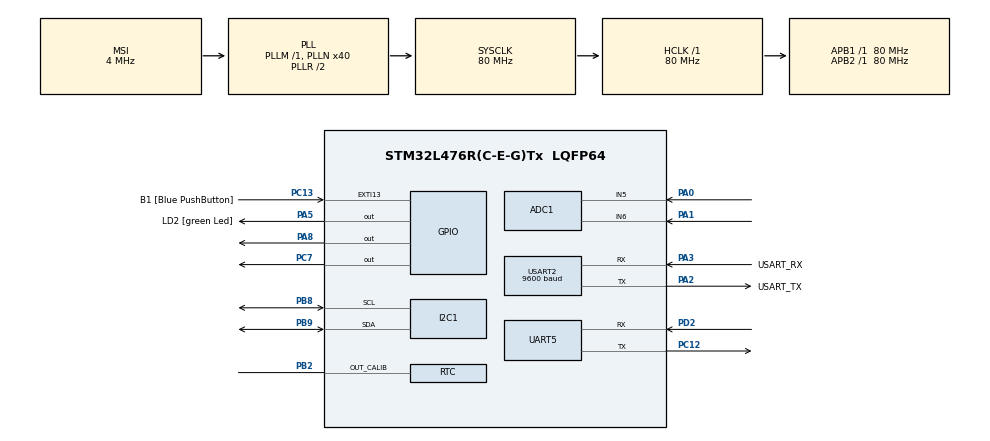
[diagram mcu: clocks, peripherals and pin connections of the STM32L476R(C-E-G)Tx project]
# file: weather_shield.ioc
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ADC1.Channel-1\#ChannelRegularConversion=ADC_CHANNEL_5
ADC1.Channel-2\#ChannelRegularConversion=ADC_CHANNEL_6
ADC1.NbrOfConversion=2
ADC1.NbrOfConversionFlag=1
ADC1.OffsetNumber-1\#ChannelRegularConversion=ADC_OFFSET_NONE
ADC1.OffsetNumber-2\#ChannelRegularConversion=ADC_OFFSET_NONE
ADC1.Rank-1\#ChannelRegularConversion=1
ADC1.Rank-2\#ChannelRegularConversion=2
ADC1.SamplingTime-1\#ChannelRegularConversion=ADC_SAMPLETIME_2CYCLES_5
ADC1.SamplingTime-2\#ChannelRegularConversion=ADC_SAMPLETIME_2CYCLES_5
ADC1.master=1
I2C1.Timing=0x10909CEC
Mcu.Family=STM32L4
Mcu.Name=STM32L476R(C-E-G)Tx
Mcu.Package=LQFP64
NVIC.PriorityGroup=NVIC_PRIORITYGROUP_4
NVIC.RTC_WKUP_IRQn=true\:0\:0\:false\:false\:true\:true\:true
NVIC.UART5_IRQn=true\:0\:0\:false\:false\:true\:true\:true
PA0.Signal=ADCx_IN5
PA1.Signal=ADCx_IN6
PA13\ (JTMS-SWDIO).GPIO_Label=TMS
PA13\ (JTMS-SWDIO).Mode=Trace_Asynchronous_SW
PA13\ (JTMS-SWDIO).Signal=SYS_JTMS-SWDIO
PA14\ (JTCK-SWCLK).Mode=Trace_Asynchronous_SW
PA14\ (JTCK-SWCLK).Signal=SYS_JTCK-SWCLK
PA2.GPIO_Label=USART_TX
PA2.GPIO_Mode=GPIO_MODE_AF_PP
PA2.GPIO_PuPd=GPIO_NOPULL
PA2.GPIO_Speed=GPIO_SPEED_FREQ_VERY_HIGH
PA2.Mode=Asynchronous
PA2.Signal=USART2_TX
PA3.GPIO_Label=USART_RX
PA3.GPIO_Mode=GPIO_MODE_AF_PP
PA3.GPIO_PuPd=GPIO_NOPULL
PA3.GPIO_Speed=GPIO_SPEED_FREQ_VERY_HIGH
PA3.Mode=Asynchronous
PA3.Signal=USART2_RX
PA5.GPIO_Label=LD2 [green Led]
PA5.GPIO_ModeDefaultOutputPP=GPIO_MODE_OUTPUT_PP
PA5.GPIO_PuPd=GPIO_NOPULL
PA5.GPIO_Speed=GPIO_SPEED_FREQ_LOW
PA5.Signal=GPIO_Output
PA8.Signal=GPIO_Output
PB2.Mode=Calibration_1Hz
PB2.Signal=RTC_OUT_CALIB
PB3\ (JTDO-TRACESWO).Mode=Trace_Asynchronous_SW
PB3\ (JTDO-TRACESWO).Signal=SYS_JTDO-SWO
PB8.Mode=I2C
PB8.Signal=I2C1_SCL
PB9.Mode=I2C
PB9.Signal=I2C1_SDA
PC12.Mode=Asynchronous
PC12.Signal=UART5_TX
PC13.GPIO_Label=B1 [Blue PushButton]
PC13.GPIO_ModeDefaultEXTI=GPIO_MODE_IT_FALLING
PC13.GPIO_PuPd=GPIO_NOPULL
PC13.Signal=GPXTI13
PC14-OSC32_IN\ (PC14).Mode=LSE-External-Oscillator
PC14-OSC32_IN\ (PC14).Signal=RCC_OSC32_IN
PC15-OSC32_OUT\ (PC15).Mode=LSE-External-Oscillator
PC15-OSC32_OUT\ (PC15).Signal=RCC_OSC32_OUT
PC7.Signal=GPIO_Output
PD2.Mode=Asynchronous
PD2.Signal=UART5_RX
PH0-OSC_IN\ (PH0).Signal=RCC_OSC_IN
PH1-OSC_OUT\ (PH1).Signal=RCC_OSC_OUT
ProjectManager.HeapSize=0x200
ProjectManager.StackSize=0x400
ProjectManager.TargetToolchain=STM32CubeIDE
RCC.ADCFreq_Value=48000000
RCC.AHBFreq_Value=80000000
RCC.APB1Freq_Value=80000000
RCC.APB1TimFreq_Value=80000000
RCC.APB2Freq_Value=80000000
RCC.APB2TimFreq_Value=80000000
RCC.CortexFreq_Value=80000000
RCC.HCLKFreq_Value=80000000
RCC.HSE_VALUE=8000000
RCC.HSI_VALUE=16000000
RCC.MSI_VALUE=4000000
RCC.PLLN=40
RCC.PLLSAI1N=24
RCC.RTCClockSelection=RCC_RTCCLKSOURCE_LSE
RCC.SYSCLKFreq_VALUE=80000000
RCC.SYSCLKSource=RCC_SYSCLKSOURCE_PLLCLK
RCC.USBFreq_Value=48000000
RCC.VCOOutputFreq_Value=160000000
RTC.WakeUpClock-WakeUp=RTC_WAKEUPCLOCK_CK_SPRE_16BITS
RTC.WakeUpCounter-WakeUp=5
SH.ADCx_IN5.0=ADC1_IN5,IN5-Single-Ended
SH.ADCx_IN6.0=ADC1_IN6,IN6-Single-Ended
USART2.BaudRate=9600
USART2.VirtualMode-Asynchronous=VM_ASYNC
VP_RTC_VS_RTC_Activate.Mode=RTC_Enabled
VP_RTC_VS_RTC_WakeUp_intern.Mode=WakeUp
board=NUCLEO-L476RG

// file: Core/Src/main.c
/* USER CODE BEGIN Header */
/**
 ******************************************************************************
 * @file           : main.c
 * @brief          : Main program body
 ******************************************************************************
 * @attention
 *
 * <h2><center>&copy; Copyright (c) 2021 STMicroelectronics.
 * All rights reserved.</center></h2>
 *
 * This software component is licensed by ST under BSD 3-Clause license,
 * the "License"; You may not use this file except in compliance with the
 * License. You may obtain a copy of the License at:
 *                        opensource.org/licenses/BSD-3-Clause
 *
 ******************************************************************************
 */
/* USER CODE END Header */
#include "main.h"

/* USER CODE BEGIN Includes */
#include "stdio.h"
#include "string.h"
#include "uart_if.h"
#include "lora_app.h"
#include "rtc_if.h"
#include "flash.h"
#include "ringbuffer.h"
#include "sys_sensors.h"
/* USER CODE END Includes */

ADC_HandleTypeDef hadc1;

I2C_HandleTypeDef hi2c1;

RTC_HandleTypeDef hrtc;

UART_HandleTypeDef huart5;
UART_HandleTypeDef huart2;

void SystemClock_Config(void);
static void MX_GPIO_Init(void);
static void MX_USART2_UART_Init(void);
void MX_ADC1_Init(void);
void MX_I2C1_Init(void);
static void MX_RTC_Init(void);
static void MX_UART5_Init(void);

/* USER CODE BEGIN 0 */
uint8_t rcvbuff[64]={0};
uint8_t command[64]={0};
uint8_t rcvptr=0;
/* USER CODE END 0 */

int main(void)
{

	/* MCU Configuration--------------------------------------------------------*/

	/* Reset of all peripherals, Initializes the Flash interface and the Systick. */
	HAL_Init();

	/* Configure the system clock */
	SystemClock_Config();

	/* Initialize all configured peripherals */
	MX_GPIO_Init();
	MX_USART2_UART_Init();
	MX_ADC1_Init();
	MX_I2C1_Init();
	MX_RTC_Init();
	MX_UART5_Init();
	/* USER CODE BEGIN 2 */
	buffer_init(&queue, adressList,3, BASEADRESSFLASH);
	for(int i=125;i<=127;i++)
		memory_erasePage(i);
	printf("start\r\n");
	printf("LoRa init\r\n");
		LoRa_init();

		//setDate(&huart2 ,&hrtc);
	/*	uint8_t rcvbuff[64]={0};
	sensor_t sensor_data;

	HAL_UART_Transmit(&huart5,(uint8_t *) "P3\r", 3, 10);
	HAL_UART_Receive(&huart5,rcvbuff, 59, 1100);
	HAL_UART_Transmit(&huart5,(uint8_t *) "K\r", 2, 10);
	HAL_UART_Receive(&huart5,rcvbuff, 59, 1100);
	sensor_data.scale.wfs=6;
	sensor_data.scale.wt=0;
	ADS1232Read(&huart5,&sensor_data); // mesure à vide
	sensor_data.scale.czs=sensor_data.scale.c;
	ADS1232Read(&huart5,&sensor_data); // mesure en charge
	sensor_data.scale.cfs=sensor_data.scale.c;

	sensor_data.scale.m=(float)sensor_data.scale.wfs/(float)(sensor_data.scale.cfs-sensor_data.scale.czs);
	sensor_data.scale.wzs=-sensor_data.scale.m*(float)sensor_data.scale.czs;
	return 0;*/
	/* USER CODE END 2 */
	/* Infinite loop */
	while (1)
	{

		/* USER CODE BEGIN 3 */

		//ADS1232Power(&huart5,SET);

		//		 creation du payload
		printf("measurement\r\n");
		CayenneMakeBuffer();
		//	enregistrement du payload

	//	ADS1232Power(&huart5,RESET );

		// envoi du payload
		printf("LoRa processing\r\n");
		if(!LoRa_process())
		{
/*
			if(!setDate(&huart2 ,&hrtc))
			{

				printf("date set \r\n");
			}
			else
			{
				printf("invalid date : configuration aborted \r\n");
			}*/

		}
		printf("et maintenant au dodo \r\n");
		//HAL_ADCEx_EnterADCDeepPowerDownMode(&hadc1);
		//	stopWithAlarm(&hrtc,&sAlarm);

		HAL_SuspendTick();
		HAL_PWR_EnterSTOPMode(PWR_MAINREGULATOR_ON,PWR_SLEEPENTRY_WFI);
		HAL_ResumeTick();
		SystemClock_Config();

	    hadc1.State    = HAL_ADC_STATE_RESET;
		MX_ADC1_Init();
		HAL_ADCEx_Calibration_Start(&hadc1,ADC_SINGLE_ENDED);

	}
	/* USER CODE END 3 */
}

void SystemClock_Config(void)
{
	RCC_OscInitTypeDef RCC_OscInitStruct = {0};
	RCC_ClkInitTypeDef RCC_ClkInitStruct = {0};

	/** Configure the main internal regulator output voltage
	 */
	if (HAL_PWREx_ControlVoltageScaling(PWR_REGULATOR_VOLTAGE_SCALE1) != HAL_OK)
	{
		Error_Handler();
	}
	/** Configure LSE Drive Capability
	 */
	HAL_PWR_EnableBkUpAccess();
	__HAL_RCC_LSEDRIVE_CONFIG(RCC_LSEDRIVE_LOW);
	/** Initializes the RCC Oscillators according to the specified parameters
	 * in the RCC_OscInitTypeDef structure.
	 */
	RCC_OscInitStruct.OscillatorType = RCC_OSCILLATORTYPE_LSE|RCC_OSCILLATORTYPE_MSI;
	RCC_OscInitStruct.LSEState = RCC_LSE_ON;
	RCC_OscInitStruct.MSIState = RCC_MSI_ON;
	RCC_OscInitStruct.MSICalibrationValue = 0;
	RCC_OscInitStruct.MSIClockRange = RCC_MSIRANGE_6;
	RCC_OscInitStruct.PLL.PLLState = RCC_PLL_ON;
	RCC_OscInitStruct.PLL.PLLSource = RCC_PLLSOURCE_MSI;
	RCC_OscInitStruct.PLL.PLLM = 1;
	RCC_OscInitStruct.PLL.PLLN = 40;
	RCC_OscInitStruct.PLL.PLLP = RCC_PLLP_DIV7;
	RCC_OscInitStruct.PLL.PLLQ = RCC_PLLQ_DIV2;
	RCC_OscInitStruct.PLL.PLLR = RCC_PLLR_DIV2;
	if (HAL_RCC_OscConfig(&RCC_OscInitStruct) != HAL_OK)
	{
		Error_Handler();
	}
	/** Initializes the CPU, AHB and APB buses clocks
	 */
	RCC_ClkInitStruct.ClockType = RCC_CLOCKTYPE_HCLK|RCC_CLOCKTYPE_SYSCLK
			|RCC_CLOCKTYPE_PCLK1|RCC_CLOCKTYPE_PCLK2;
	RCC_ClkInitStruct.SYSCLKSource = RCC_SYSCLKSOURCE_PLLCLK;
	RCC_ClkInitStruct.AHBCLKDivider = RCC_SYSCLK_DIV1;
	RCC_ClkInitStruct.APB1CLKDivider = RCC_HCLK_DIV1;
	RCC_ClkInitStruct.APB2CLKDivider = RCC_HCLK_DIV1;

	if (HAL_RCC_ClockConfig(&RCC_ClkInitStruct, FLASH_LATENCY_4) != HAL_OK)
	{
		Error_Handler();
	}
	/** Enable MSI Auto calibration
	 */
	HAL_RCCEx_EnableMSIPLLMode();
}

void MX_ADC1_Init(void)
{

	ADC_MultiModeTypeDef multimode = {0};
	ADC_ChannelConfTypeDef sConfig = {0};

	/** Common config
	 */
	hadc1.Instance = ADC1;
	hadc1.Init.ClockPrescaler = ADC_CLOCK_ASYNC_DIV1;
	hadc1.Init.Resolution = ADC_RESOLUTION_10B;
	hadc1.Init.DataAlign = ADC_DATAALIGN_RIGHT;
	hadc1.Init.ScanConvMode = ADC_SCAN_ENABLE;
	hadc1.Init.EOCSelection = ADC_EOC_SEQ_CONV;
	hadc1.Init.LowPowerAutoWait = DISABLE;
	hadc1.Init.ContinuousConvMode = DISABLE;
	hadc1.Init.NbrOfConversion = 2;
	hadc1.Init.DiscontinuousConvMode = DISABLE;
	hadc1.Init.ExternalTrigConv = ADC_SOFTWARE_START;
	hadc1.Init.ExternalTrigConvEdge = ADC_EXTERNALTRIGCONVEDGE_NONE;
	hadc1.Init.DMAContinuousRequests = DISABLE;
	hadc1.Init.Overrun = ADC_OVR_DATA_PRESERVED;
	hadc1.Init.OversamplingMode = DISABLE;
	if (HAL_ADC_Init(&hadc1) != HAL_OK)
	{
		Error_Handler();
	}
	/** Configure the ADC multi-mode
	 */
	multimode.Mode = ADC_MODE_INDEPENDENT;
	if (HAL_ADCEx_MultiModeConfigChannel(&hadc1, &multimode) != HAL_OK)
	{
		Error_Handler();
	}
	/** Configure Regular Channel
	 */
	sConfig.Channel = ADC_CHANNEL_5;
	sConfig.Rank = ADC_REGULAR_RANK_1;
	sConfig.SamplingTime = ADC_SAMPLETIME_640CYCLES_5;
	sConfig.SingleDiff = ADC_SINGLE_ENDED;
	sConfig.OffsetNumber = ADC_OFFSET_NONE;
	sConfig.Offset = 0;
	if (HAL_ADC_ConfigChannel(&hadc1, &sConfig) != HAL_OK)
	{
		Error_Handler();
	}
	/** Configure Regular Channel
	 */
	sConfig.Channel = ADC_CHANNEL_6;
	sConfig.Rank = ADC_REGULAR_RANK_2;
	if (HAL_ADC_ConfigChannel(&hadc1, &sConfig) != HAL_OK)
	{
		Error_Handler();
	}

}

void MX_I2C1_Init(void)
{

	hi2c1.Instance = I2C1;
	hi2c1.Init.Timing = 0x10909CEC;
	hi2c1.Init.OwnAddress1 = 0;
	hi2c1.Init.AddressingMode = I2C_ADDRESSINGMODE_7BIT;
	hi2c1.Init.DualAddressMode = I2C_DUALADDRESS_DISABLE;
	hi2c1.Init.OwnAddress2 = 0;
	hi2c1.Init.OwnAddress2Masks = I2C_OA2_NOMASK;
	hi2c1.Init.GeneralCallMode = I2C_GENERALCALL_DISABLE;
	hi2c1.Init.NoStretchMode = I2C_NOSTRETCH_DISABLE;
	if (HAL_I2C_Init(&hi2c1) != HAL_OK)
	{
		Error_Handler();
	}
	/** Configure Analogue filter
	 */
	if (HAL_I2CEx_ConfigAnalogFilter(&hi2c1, I2C_ANALOGFILTER_ENABLE) != HAL_OK)
	{
		Error_Handler();
	}
	/** Configure Digital filter
	 */
	if (HAL_I2CEx_ConfigDigitalFilter(&hi2c1, 0) != HAL_OK)
	{
		Error_Handler();
	}

}

static void MX_RTC_Init(void)
{

	/* USER CODE BEGIN RTC_Init 0 */
	/*si la carte ne se réveille pas supprimer sDate sTime sAlarm*/
	/* USER CODE END RTC_Init 0 */

	/* USER CODE BEGIN RTC_Init 1 */
	__HAL_RCC_RTC_ENABLE();

	/* USER CODE END RTC_Init 1 */
	/** Initialize RTC Only
	 */
	hrtc.Instance = RTC;
	hrtc.Init.HourFormat = RTC_HOURFORMAT_24;
	hrtc.Init.AsynchPrediv = 127;
	hrtc.Init.SynchPrediv = 255;
	hrtc.Init.OutPut = RTC_OUTPUT_DISABLE;
	hrtc.Init.OutPutRemap = RTC_OUTPUT_REMAP_POS1;
	hrtc.Init.OutPutPolarity = RTC_OUTPUT_POLARITY_HIGH;
	hrtc.Init.OutPutType = RTC_OUTPUT_TYPE_OPENDRAIN;
	if (HAL_RTC_Init(&hrtc) != HAL_OK)
	{
		Error_Handler();
	}
	/** Enable Calibration
	 */
	if (HAL_RTCEx_SetCalibrationOutPut(&hrtc, RTC_CALIBOUTPUT_1HZ) != HAL_OK)
	{
		Error_Handler();
	}
	/* USER CODE BEGIN RTC_Init 2 */
	HAL_RTCEx_SetWakeUpTimer_IT(&hrtc, 10*60, RTC_WAKEUPCLOCK_CK_SPRE_16BITS);
	/* USER CODE END RTC_Init 2 */

}

static void MX_UART5_Init(void)
{

	huart5.Instance = UART5;
	huart5.Init.BaudRate = 115200;
	huart5.Init.WordLength = UART_WORDLENGTH_8B;
	huart5.Init.StopBits = UART_STOPBITS_1;
	huart5.Init.Parity = UART_PARITY_NONE;
	huart5.Init.Mode = UART_MODE_TX_RX;
	huart5.Init.HwFlowCtl = UART_HWCONTROL_NONE;
	huart5.Init.OverSampling = UART_OVERSAMPLING_16;
	huart5.Init.OneBitSampling = UART_ONE_BIT_SAMPLE_DISABLE;
	huart5.AdvancedInit.AdvFeatureInit = UART_ADVFEATURE_NO_INIT;
	if (HAL_UART_Init(&huart5) != HAL_OK)
	{
		Error_Handler();
	}
	/* USER CODE BEGIN UART5_Init 2 */
	//ADS1232Power(&huart5,SET);
	/* USER CODE END UART5_Init 2 */

}

static void MX_USART2_UART_Init(void)
{

	huart2.Instance = USART2;
	huart2.Init.BaudRate = 9600;
	huart2.Init.WordLength = UART_WORDLENGTH_8B;
	huart2.Init.StopBits = UART_STOPBITS_1;
	huart2.Init.Parity = UART_PARITY_NONE;
	huart2.Init.Mode = UART_MODE_TX_RX;
	huart2.Init.HwFlowCtl = UART_HWCONTROL_NONE;
	huart2.Init.OverSampling = UART_OVERSAMPLING_16;
	huart2.Init.OneBitSampling = UART_ONE_BIT_SAMPLE_DISABLE;
	huart2.AdvancedInit.AdvFeatureInit = UART_ADVFEATURE_NO_INIT;
	if (HAL_UART_Init(&huart2) != HAL_OK)
	{
		Error_Handler();
	}

}

static void MX_GPIO_Init(void)
{
	GPIO_InitTypeDef GPIO_InitStruct = {0};

	/* GPIO Ports Clock Enable */
	__HAL_RCC_GPIOC_CLK_ENABLE();
	__HAL_RCC_GPIOH_CLK_ENABLE();
	__HAL_RCC_GPIOA_CLK_ENABLE();
	__HAL_RCC_GPIOB_CLK_ENABLE();
	__HAL_RCC_GPIOD_CLK_ENABLE();

	/*Configure GPIO pin Output Level */
	HAL_GPIO_WritePin(GPIOA, LD2_Pin|GPIO_PIN_8, GPIO_PIN_RESET);

	/*Configure GPIO pin Output Level */
	HAL_GPIO_WritePin(GPIOC, GPIO_PIN_7, GPIO_PIN_RESET);

	/*Configure GPIO pin : B1_Pin */
	GPIO_InitStruct.Pin = B1_Pin;
	GPIO_InitStruct.Mode = GPIO_MODE_IT_FALLING;
	GPIO_InitStruct.Pull = GPIO_NOPULL;
	HAL_GPIO_Init(B1_GPIO_Port, &GPIO_InitStruct);

	/*Configure GPIO pins : LD2_Pin PA8 */
	GPIO_InitStruct.Pin = LD2_Pin|GPIO_PIN_8;
	GPIO_InitStruct.Mode = GPIO_MODE_OUTPUT_PP;
	GPIO_InitStruct.Pull = GPIO_NOPULL;
	GPIO_InitStruct.Speed = GPIO_SPEED_FREQ_LOW;
	HAL_GPIO_Init(GPIOA, &GPIO_InitStruct);

	/*Configure GPIO pin : PC7 */
	GPIO_InitStruct.Pin = GPIO_PIN_7;
	GPIO_InitStruct.Mode = GPIO_MODE_OUTPUT_PP;
	GPIO_InitStruct.Pull = GPIO_NOPULL;
	GPIO_InitStruct.Speed = GPIO_SPEED_FREQ_LOW;
	HAL_GPIO_Init(GPIOC, &GPIO_InitStruct);

}

/* USER CODE BEGIN 4 */
int __io_putchar(int ch)
{
	ITM_SendChar(ch);
	return(ch);
}

int  _write(int file, char *ptr, int len)
{
	int DataIdx;
	for (DataIdx = 0; DataIdx < len; DataIdx++)
	{
		__io_putchar(*ptr++);
	}
	return   len;
}

void HAL_RTCEx_WakeUpTimerEventCallback(RTC_HandleTypeDef *hrtc)
{
	printf("wake up coucou lalala \r\n");
}

void HAL_UART_RxCpltCallback(UART_HandleTypeDef *huart)
{
	if(huart->Instance==UART5)
	{
		if(rcvbuff[rcvptr]=='\r')
		{
			memcpy(&command[0],&rcvbuff[1],rcvptr-1);
			memset(rcvbuff,0,64);
			rcvptr=0;
		}
		else
		{
			rcvptr++;
		}
		HAL_UART_Receive_IT(&huart5,&rcvbuff[rcvptr],1);
	}
}
/* USER CODE END 4 */

void Error_Handler(void)
{
	__disable_irq();
	while (1)
	{
	}
}

/************************ (C) COPYRIGHT STMicroelectronics *****END OF FILE****/
